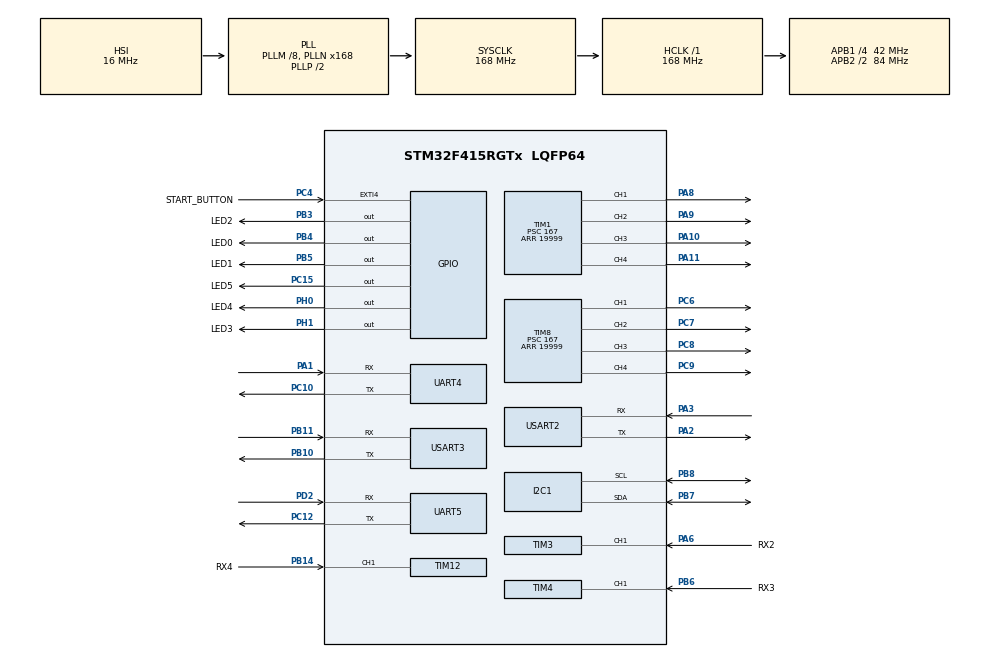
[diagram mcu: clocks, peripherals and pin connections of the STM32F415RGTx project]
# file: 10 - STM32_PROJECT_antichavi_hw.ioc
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Dma.Request0=USART3_RX
Dma.Request1=USART3_TX
Dma.Request2=UART5_RX
Dma.Request3=UART5_TX
Dma.Request4=UART4_RX
Dma.Request5=UART4_TX
Dma.Request6=USART2_RX
Dma.Request7=USART2_TX
Dma.UART4_RX.4.Direction=DMA_PERIPH_TO_MEMORY
Dma.UART4_RX.4.FIFOMode=DMA_FIFOMODE_DISABLE
Dma.UART4_RX.4.Instance=DMA1_Stream2
Dma.UART4_RX.4.MemDataAlignment=DMA_MDATAALIGN_BYTE
Dma.UART4_RX.4.MemInc=DMA_MINC_ENABLE
Dma.UART4_RX.4.Mode=DMA_CIRCULAR
Dma.UART4_RX.4.PeriphDataAlignment=DMA_PDATAALIGN_BYTE
Dma.UART4_RX.4.PeriphInc=DMA_PINC_DISABLE
Dma.UART4_RX.4.Priority=DMA_PRIORITY_LOW
Dma.UART4_TX.5.Direction=DMA_MEMORY_TO_PERIPH
Dma.UART4_TX.5.FIFOMode=DMA_FIFOMODE_DISABLE
Dma.UART4_TX.5.Instance=DMA1_Stream4
Dma.UART4_TX.5.MemDataAlignment=DMA_MDATAALIGN_BYTE
Dma.UART4_TX.5.MemInc=DMA_MINC_ENABLE
Dma.UART4_TX.5.Mode=DMA_NORMAL
Dma.UART4_TX.5.PeriphDataAlignment=DMA_PDATAALIGN_BYTE
Dma.UART4_TX.5.PeriphInc=DMA_PINC_DISABLE
Dma.UART4_TX.5.Priority=DMA_PRIORITY_LOW
Dma.UART5_RX.2.Direction=DMA_PERIPH_TO_MEMORY
Dma.UART5_RX.2.FIFOMode=DMA_FIFOMODE_DISABLE
Dma.UART5_RX.2.Instance=DMA1_Stream0
Dma.UART5_RX.2.MemDataAlignment=DMA_MDATAALIGN_BYTE
Dma.UART5_RX.2.MemInc=DMA_MINC_ENABLE
Dma.UART5_RX.2.Mode=DMA_NORMAL
Dma.UART5_RX.2.PeriphDataAlignment=DMA_PDATAALIGN_BYTE
Dma.UART5_RX.2.PeriphInc=DMA_PINC_DISABLE
Dma.UART5_RX.2.Priority=DMA_PRIORITY_LOW
Dma.UART5_TX.3.Direction=DMA_MEMORY_TO_PERIPH
Dma.UART5_TX.3.FIFOMode=DMA_FIFOMODE_DISABLE
Dma.UART5_TX.3.Instance=DMA1_Stream7
Dma.UART5_TX.3.MemDataAlignment=DMA_MDATAALIGN_BYTE
Dma.UART5_TX.3.MemInc=DMA_MINC_ENABLE
Dma.UART5_TX.3.Mode=DMA_NORMAL
Dma.UART5_TX.3.PeriphDataAlignment=DMA_PDATAALIGN_BYTE
Dma.UART5_TX.3.PeriphInc=DMA_PINC_DISABLE
Dma.UART5_TX.3.Priority=DMA_PRIORITY_LOW
Dma.USART2_RX.6.Direction=DMA_PERIPH_TO_MEMORY
Dma.USART2_RX.6.FIFOMode=DMA_FIFOMODE_DISABLE
Dma.USART2_RX.6.Instance=DMA1_Stream5
Dma.USART2_RX.6.MemDataAlignment=DMA_MDATAALIGN_BYTE
Dma.USART2_RX.6.MemInc=DMA_MINC_ENABLE
Dma.USART2_RX.6.Mode=DMA_NORMAL
Dma.USART2_RX.6.PeriphDataAlignment=DMA_PDATAALIGN_BYTE
Dma.USART2_RX.6.PeriphInc=DMA_PINC_DISABLE
Dma.USART2_RX.6.Priority=DMA_PRIORITY_LOW
Dma.USART2_TX.7.Direction=DMA_MEMORY_TO_PERIPH
Dma.USART2_TX.7.FIFOMode=DMA_FIFOMODE_DISABLE
Dma.USART2_TX.7.Instance=DMA1_Stream6
Dma.USART2_TX.7.MemDataAlignment=DMA_MDATAALIGN_BYTE
Dma.USART2_TX.7.MemInc=DMA_MINC_ENABLE
Dma.USART2_TX.7.Mode=DMA_NORMAL
Dma.USART2_TX.7.PeriphDataAlignment=DMA_PDATAALIGN_BYTE
Dma.USART2_TX.7.PeriphInc=DMA_PINC_DISABLE
Dma.USART2_TX.7.Priority=DMA_PRIORITY_LOW
Dma.USART3_RX.0.Direction=DMA_PERIPH_TO_MEMORY
Dma.USART3_RX.0.FIFOMode=DMA_FIFOMODE_DISABLE
Dma.USART3_RX.0.Instance=DMA1_Stream1
Dma.USART3_RX.0.MemDataAlignment=DMA_MDATAALIGN_BYTE
Dma.USART3_RX.0.MemInc=DMA_MINC_ENABLE
Dma.USART3_RX.0.Mode=DMA_NORMAL
Dma.USART3_RX.0.PeriphDataAlignment=DMA_PDATAALIGN_BYTE
Dma.USART3_RX.0.PeriphInc=DMA_PINC_DISABLE
Dma.USART3_RX.0.Priority=DMA_PRIORITY_LOW
Dma.USART3_TX.1.Direction=DMA_MEMORY_TO_PERIPH
Dma.USART3_TX.1.FIFOMode=DMA_FIFOMODE_DISABLE
Dma.USART3_TX.1.Instance=DMA1_Stream3
Dma.USART3_TX.1.MemDataAlignment=DMA_MDATAALIGN_BYTE
Dma.USART3_TX.1.MemInc=DMA_MINC_ENABLE
Dma.USART3_TX.1.Mode=DMA_NORMAL
Dma.USART3_TX.1.PeriphDataAlignment=DMA_PDATAALIGN_BYTE
Dma.USART3_TX.1.PeriphInc=DMA_PINC_DISABLE
Dma.USART3_TX.1.Priority=DMA_PRIORITY_LOW
I2C1.I2C_Mode=I2C_Fast
Mcu.Family=STM32F4
Mcu.Name=STM32F415RGTx
Mcu.Package=LQFP64
NVIC.DMA1_Stream0_IRQn=true\:0\:0\:false\:false\:true\:false\:true
NVIC.DMA1_Stream1_IRQn=true\:0\:0\:false\:false\:true\:false\:true
NVIC.DMA1_Stream2_IRQn=true\:0\:0\:false\:false\:true\:false\:true
NVIC.DMA1_Stream3_IRQn=true\:0\:0\:false\:false\:true\:false\:true
NVIC.DMA1_Stream4_IRQn=true\:0\:0\:false\:false\:true\:false\:true
NVIC.DMA1_Stream5_IRQn=true\:0\:0\:false\:false\:true\:false\:true
NVIC.DMA1_Stream6_IRQn=true\:0\:0\:false\:false\:true\:false\:true
NVIC.DMA1_Stream7_IRQn=true\:0\:0\:false\:false\:true\:false\:true
NVIC.EXTI4_IRQn=true\:0\:0\:false\:false\:true\:true\:true
NVIC.PriorityGroup=NVIC_PRIORITYGROUP_4
NVIC.TIM1_BRK_TIM9_IRQn=true\:0\:0\:false\:false\:true\:true\:true
NVIC.TIM3_IRQn=true\:0\:0\:false\:false\:true\:true\:true
NVIC.TIM4_IRQn=true\:0\:0\:false\:false\:true\:true\:true
NVIC.TIM8_BRK_TIM12_IRQn=true\:0\:0\:false\:false\:true\:true\:true
NVIC.UART4_IRQn=true\:0\:0\:false\:false\:true\:true\:true
NVIC.UART5_IRQn=true\:0\:0\:false\:false\:true\:true\:true
NVIC.USART2_IRQn=true\:0\:0\:false\:false\:true\:true\:true
NVIC.USART3_IRQn=true\:0\:0\:false\:false\:true\:true\:true
PA1.Mode=Asynchronous
PA1.Signal=UART4_RX
PA10.Signal=S_TIM1_CH3
PA11.Signal=S_TIM1_CH4
PA13.Mode=Serial_Wire
PA13.Signal=SYS_JTMS-SWDIO
PA14.Mode=Serial_Wire
PA14.Signal=SYS_JTCK-SWCLK
PA2.Mode=Asynchronous
PA2.Signal=USART2_TX
PA3.Mode=Asynchronous
PA3.Signal=USART2_RX
PA6.GPIO_Label=RX2
PA6.Signal=S_TIM3_CH1
PA8.Signal=S_TIM1_CH1
PA9.Signal=S_TIM1_CH2
PB10.Mode=Asynchronous
PB10.Signal=USART3_TX
PB11.Mode=Asynchronous
PB11.Signal=USART3_RX
PB14.GPIO_Label=RX4
PB14.Signal=S_TIM12_CH1
PB3.GPIO_Label=LED2
PB3.GPIO_ModeDefaultOutputPP=GPIO_MODE_OUTPUT_OD
PB3.Signal=GPIO_Output
PB4.GPIO_Label=LED0
PB4.GPIO_ModeDefaultOutputPP=GPIO_MODE_OUTPUT_OD
PB4.Signal=GPIO_Output
PB5.GPIO_Label=LED1
PB5.GPIO_ModeDefaultOutputPP=GPIO_MODE_OUTPUT_OD
PB5.Signal=GPIO_Output
PB6.GPIO_Label=RX3
PB6.GPIO_PuPd=GPIO_PULLUP
PB6.Signal=S_TIM4_CH1
PB7.Mode=I2C
PB7.Signal=I2C1_SDA
PB8.Mode=I2C
PB8.Signal=I2C1_SCL
PC10.Mode=Asynchronous
PC10.Signal=UART4_TX
PC12.Mode=Asynchronous
PC12.Signal=UART5_TX
PC15-OSC32_OUT.GPIO_Label=LED5
PC15-OSC32_OUT.GPIO_ModeDefaultOutputPP=GPIO_MODE_OUTPUT_OD
PC15-OSC32_OUT.Signal=GPIO_Output
PC4.GPIO_Label=START_BUTTON
PC4.GPIO_ModeDefaultEXTI=GPIO_MODE_IT_RISING
PC4.GPIO_PuPd=GPIO_PULLUP
PC4.Signal=GPXTI4
PC6.Signal=S_TIM8_CH1
PC7.Signal=S_TIM8_CH2
PC8.Signal=S_TIM8_CH3
PC9.Signal=S_TIM8_CH4
PD2.Mode=Asynchronous
PD2.Signal=UART5_RX
PH0-OSC_IN.GPIO_Label=LED4
PH0-OSC_IN.GPIO_ModeDefaultOutputPP=GPIO_MODE_OUTPUT_OD
PH0-OSC_IN.Signal=GPIO_Output
PH1-OSC_OUT.GPIO_Label=LED3
PH1-OSC_OUT.GPIO_ModeDefaultOutputPP=GPIO_MODE_OUTPUT_OD
PH1-OSC_OUT.Signal=GPIO_Output
ProjectManager.HeapSize=0x200
ProjectManager.StackSize=0x400
ProjectManager.TargetToolchain=TrueSTUDIO
RCC.48MHZClocksFreq_Value=84000000
RCC.AHBFreq_Value=168000000
RCC.APB1CLKDivider=RCC_HCLK_DIV4
RCC.APB1Freq_Value=42000000
RCC.APB1TimFreq_Value=84000000
RCC.APB2CLKDivider=RCC_HCLK_DIV2
RCC.APB2Freq_Value=84000000
RCC.APB2TimFreq_Value=168000000
RCC.CortexFreq_Value=168000000
RCC.HCLKFreq_Value=168000000
RCC.HSE_VALUE=25000000
RCC.HSI_VALUE=16000000
RCC.LSE_VALUE=32768
RCC.PLLM=8
RCC.PLLN=168
RCC.SYSCLKFreq_VALUE=168000000
RCC.SYSCLKSource=RCC_SYSCLKSOURCE_PLLCLK
RCC.VCOOutputFreq_Value=336000000
SH.S_TIM12_CH1.0=TIM12_CH1,PWM_Input_1
SH.S_TIM1_CH1.0=TIM1_CH1,PWM Generation1 CH1
SH.S_TIM1_CH2.0=TIM1_CH2,PWM Generation2 CH2
SH.S_TIM1_CH3.0=TIM1_CH3,PWM Generation3 CH3
SH.S_TIM1_CH4.0=TIM1_CH4,PWM Generation4 CH4
SH.S_TIM3_CH1.0=TIM3_CH1,PWM_Input_1
SH.S_TIM4_CH1.0=TIM4_CH1,PWM_Input_1
SH.S_TIM8_CH1.0=TIM8_CH1,PWM Generation1 CH1
SH.S_TIM8_CH2.0=TIM8_CH2,PWM Generation2 CH2
SH.S_TIM8_CH3.0=TIM8_CH3,PWM Generation3 CH3
SH.S_TIM8_CH4.0=TIM8_CH4,PWM Generation4 CH4
TIM1.Channel-PWM\ Generation1\ CH1=TIM_CHANNEL_1
TIM1.Channel-PWM\ Generation2\ CH2=TIM_CHANNEL_2
TIM1.Channel-PWM\ Generation3\ CH3=TIM_CHANNEL_3
TIM1.Channel-PWM\ Generation4\ CH4=TIM_CHANNEL_4
TIM1.Period=19999
TIM1.Prescaler=167
TIM1.Pulse-PWM\ Generation1\ CH1=1500
TIM1.Pulse-PWM\ Generation2\ CH2=1500
TIM1.Pulse-PWM\ Generation3\ CH3=1500
TIM1.Pulse-PWM\ Generation4\ CH4=1500
TIM10.Period=0xffff
TIM10.Prescaler=167
TIM12.ICFilter_1=3
TIM12.ICFilter_2=3
TIM12.Period=0xffff
TIM12.Prescaler=83
TIM3.ICFilter_1=3
TIM3.ICFilter_2=3
TIM3.Period=0xffff
TIM3.Prescaler=83
TIM4.ICFilter_1=3
TIM4.ICFilter_2=3
TIM4.Period=0xffff
TIM4.Prescaler=839
TIM8.Channel-PWM\ Generation1\ CH1=TIM_CHANNEL_1
TIM8.Channel-PWM\ Generation2\ CH2=TIM_CHANNEL_2
TIM8.Channel-PWM\ Generation3\ CH3=TIM_CHANNEL_3
TIM8.Channel-PWM\ Generation4\ CH4=TIM_CHANNEL_4
TIM8.Period=19999
TIM8.Prescaler=167
TIM8.Pulse-PWM\ Generation1\ CH1=1500
TIM8.Pulse-PWM\ Generation2\ CH2=1500
TIM8.Pulse-PWM\ Generation3\ CH3=1500
TIM8.Pulse-PWM\ Generation4\ CH4=1500
UART4.VirtualMode=Asynchronous
UART5.VirtualMode=Asynchronous
USART2.VirtualMode=VM_ASYNC
USART3.VirtualMode=VM_ASYNC
VP_TIM10_VS_ClockSourceINT.Mode=Enable_Timer
VP_TIM12_VS_ClockSourceINT.Mode=Internal
VP_TIM1_VS_ClockSourceINT.Mode=Internal
VP_TIM3_VS_ClockSourceINT.Mode=Internal
VP_TIM4_VS_ClockSourceINT.Mode=Internal
VP_TIM8_VS_ClockSourceINT.Mode=Internal
board=custom

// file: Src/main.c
/* USER CODE BEGIN Header */
/**
  ******************************************************************************
  * @file           : main.c
  * @brief          : Main program body
  ******************************************************************************
  * @attention
  *
  * <h2><center>&copy; Copyright (c) 2019 STMicroelectronics.
  * All rights reserved.</center></h2>
  *
  * This software component is licensed by ST under BSD 3-Clause license,
  * the "License"; You may not use this file except in compliance with the
  * License. You may obtain a copy of the License at:
  *                        opensource.org/licenses/BSD-3-Clause
  *
  ******************************************************************************
  */

// WIRING INPUT
// SERIAL3 = ------ LiD (UART3, RX only, DMA RX Normal, note : pin TX damaged)
// SERIAL4 = TX&RX from NVIDIA AI (UART4, DMA RX Circular, DMA TX normal)
// SERIAL5 = ------ LiG (UART5, RX only, DMA RX Normal)

// RC1 = n/c
// RC2 = DIR from RX (TIM3 CH1 PWM input capture)
// RC3 = Tachymeter  (TIM4 CH1 PWM input capture)
// RC4 = THR from RX (TIM12 CH1 PWM input capture)
// RC5 = n/c

// IO1 : ------ LiH (UART2, RX only, DMA RX normal)
// IO4 : START Push button (PC4)

// WIRING OUTPUT
// SERVO5 (HW=TIM8 CH1) = THR
// SERVO6 (HW=TIM8 CH2) = DIR

// MMI
// LED0 (HW=D2)
// LED1 (HW=D1) = MANUAL/AUTO state
// LED2 (HW=D3)
// LED3 (HW=D4) = GYRO state
// LED4 (HW=D5) = AI state
// LED5 (HW=D6) = RC state

/* USER CODE END Header */

#include "main.h"

/* USER CODE BEGIN Includes */
#include "serial.h"
#include "tfminiplus.h"
#include "stdio.h"
#include "string.h"
#include <stdlib.h>     /* atoi */
#include "imu.h"
#include "timer_us.h"
/* USER CODE END Includes */

I2C_HandleTypeDef hi2c1;

TIM_HandleTypeDef htim1;
TIM_HandleTypeDef htim3;
TIM_HandleTypeDef htim4;
TIM_HandleTypeDef htim8;
TIM_HandleTypeDef htim10;
TIM_HandleTypeDef htim12;

UART_HandleTypeDef huart4;
UART_HandleTypeDef huart5;
UART_HandleTypeDef huart2;
UART_HandleTypeDef huart3;
DMA_HandleTypeDef hdma_uart4_rx;
DMA_HandleTypeDef hdma_uart4_tx;
DMA_HandleTypeDef hdma_uart5_rx;
DMA_HandleTypeDef hdma_uart5_tx;
DMA_HandleTypeDef hdma_usart2_rx;
DMA_HandleTypeDef hdma_usart2_tx;
DMA_HandleTypeDef hdma_usart3_rx;
DMA_HandleTypeDef hdma_usart3_tx;

/* USER CODE BEGIN PV */
static HAL_Serial_Handler ai_com;
static uint32_t RC1_last_time = 0;
static uint32_t RC1_period = 0;
static uint32_t RC1_duty_cycle = 0;
static uint32_t RC2_last_time = 0;
static uint32_t RC2_period = 0;
static uint32_t RC2_duty_cycle = 0;
static uint32_t RC4_last_time = 0;
static uint32_t RC4_period = 0;
static uint32_t RC4_duty_cycle = 0;
static char com_line[32];
static uint32_t com_position = 0;
static uint32_t com_last_time = 0;
static uint32_t pwm_manual_thr = 1500;
static uint32_t pwm_manual_dir = 1500;
static uint32_t pwm_ai_thr = 1500;
static uint32_t pwm_ai_dir = 1500;
static uint32_t ai_mode = 0; // 0:idle, 1:running
static uint32_t pwm_auto_thr = 1500;
static uint32_t pwm_auto_dir = 1500;
enum {MAIN_STATE_MANUAL, MAIN_STATE_AUTO_REQUEST, MAIN_STATE_AUTO_STARTUP, MAIN_STATE_AUTO };
static uint32_t main_state = MAIN_STATE_MANUAL;
static uint32_t main_state_last = 0;
#define MANUAL_OVERRIDE_TIMEOUT 2000 //ms
enum {RC_STATE_NONE,RC_STATE_OK};
static uint32_t rc_state = RC_STATE_NONE;
#define RC_TIMEOUT 500 //ms
enum {AI_STATE_NONE,AI_STATE_OK};
static uint32_t ai_state = AI_STATE_NONE;
#define AI_TIMEOUT 100 //ms
enum {LIDAR_STATE_NONE,LIDAR_STATE_OK};
//static uint32_t lidar_state = LIDAR_STATE_NONE;
#define LIDAR_TIMEOUT 100 //ms
//static int32_t lidar_distance_gauche = -1; // cm
//static int32_t lidar_distance_droit = -1;
//static int32_t lidar_distance_haut = -1;
//static int32_t lidar_strength_gauche = -1;
//static int32_t lidar_strength_droit = -1;
//static int32_t lidar_strength_haut = -1;
//static int32_t lidar_temp_gauche = -1;
//static int32_t lidar_temp_droit = -1;
//static int32_t lidar_temp_haut = -1;
static uint32_t tachymeter_pulse_period_5us = 0xFFFF;
static uint64_t tachymeter_pulse_count = 0;
#define GYRO_PERIOD_US 2404 // GYRO ODR = 416Hz
#define GYRO_ODR 416 // GYRO ODR = 416Hz
static int32_t start_countdown = 0;
/* USER CODE END PV */

void SystemClock_Config(void);
static void MX_GPIO_Init(void);
static void MX_DMA_Init(void);
static void MX_TIM1_Init(void);
static void MX_TIM8_Init(void);
static void MX_USART3_UART_Init(void);
static void MX_TIM3_Init(void);
static void MX_UART4_Init(void);
static void MX_UART5_Init(void);
static void MX_TIM12_Init(void);
static void MX_USART2_UART_Init(void);
static void MX_I2C1_Init(void);
static void MX_TIM4_Init(void);
static void MX_TIM10_Init(void);
/* USER CODE BEGIN PFP */
void HAL_GPIO_EXTI_Callback(uint16_t GPIO_Pin)
{
	if(GPIO_Pin==START_BUTTON_Pin)
	{
		main_state = MAIN_STATE_AUTO;
		start_countdown = 3;
	}
}

void HAL_TIM_IC_CaptureCallback(TIM_HandleTypeDef *htim) // Callback for PWM input catpure
{
	if(htim==&htim3) // RC2 = DIR from RX
	{
		if (htim->Channel == HAL_TIM_ACTIVE_CHANNEL_1)
		{
			RC2_period = HAL_TIM_ReadCapturedValue(htim, TIM_CHANNEL_1);
			RC2_last_time = HAL_GetTick(); // timestamp last pulse
		}
		else if (htim->Channel == HAL_TIM_ACTIVE_CHANNEL_2)
		{
			RC2_duty_cycle = HAL_TIM_ReadCapturedValue(htim, TIM_CHANNEL_2);
		}
	}
	else if(htim==&htim12) // RC4 = THR from RX
	{
		if (htim->Channel == HAL_TIM_ACTIVE_CHANNEL_1)
		{
			RC1_period = HAL_TIM_ReadCapturedValue(htim, TIM_CHANNEL_1);
			RC1_last_time = HAL_GetTick(); // timestamp last pulse
		}
		else if (htim->Channel == HAL_TIM_ACTIVE_CHANNEL_2)
		{
			RC1_duty_cycle = HAL_TIM_ReadCapturedValue(htim, TIM_CHANNEL_2);
		}
	}
	else if(htim==&htim4) // RC3 = Tachymeter
	{
		if (htim->Channel == HAL_TIM_ACTIVE_CHANNEL_1)
		{
			tachymeter_pulse_count++;
			RC4_period = HAL_TIM_ReadCapturedValue(htim, TIM_CHANNEL_1);
			RC4_last_time = HAL_GetTick(); // timestamp last pulse
		}
		else if (htim->Channel == HAL_TIM_ACTIVE_CHANNEL_2)
		{
			RC4_duty_cycle = HAL_TIM_ReadCapturedValue(htim, TIM_CHANNEL_2);
		}
	}
}
uint32_t int_to_pwm(uint32_t value)
{
	if(value>=255) value = 255;
	return (uint32_t)( (float)value * 1000.0 / 255.0 + 1000.0 );
}
uint32_t pwm_to_int(uint32_t value)
{
	if(value<=1000) value = 1000;
	if(value>=2000) value = 2000;
	return (uint32_t)( ( (float)value - 1000.0) * 255.0 / 1000.0 );
}
/* USER CODE END PFP */

int main(void)
{

  /* MCU Configuration--------------------------------------------------------*/

  /* Reset of all peripherals, Initializes the Flash interface and the Systick. */
  HAL_Init();

  /* Configure the system clock */
  SystemClock_Config();

  /* Initialize all configured peripherals */
  MX_GPIO_Init();
  MX_DMA_Init();
  MX_TIM1_Init();
  MX_TIM8_Init();
  MX_USART3_UART_Init();
  MX_TIM3_Init();
  MX_UART4_Init();
  MX_UART5_Init();
  MX_TIM12_Init();
  MX_USART2_UART_Init();
  MX_I2C1_Init();
  MX_TIM4_Init();
  MX_TIM10_Init();
  /* USER CODE BEGIN 2 */
  timer_us_init();
  HAL_TIM_PWM_Start(&htim1,TIM_CHANNEL_1); // Start PWM outputs
  HAL_TIM_PWM_Start(&htim1,TIM_CHANNEL_2);
  HAL_TIM_PWM_Start(&htim1,TIM_CHANNEL_3);
  HAL_TIM_PWM_Start(&htim1,TIM_CHANNEL_4);
  HAL_TIM_PWM_Start(&htim8,TIM_CHANNEL_1);
  HAL_TIM_PWM_Start(&htim8,TIM_CHANNEL_2);
  HAL_TIM_PWM_Start(&htim8,TIM_CHANNEL_3);
  HAL_TIM_PWM_Start(&htim8,TIM_CHANNEL_4);
  __HAL_TIM_SET_COMPARE(&htim1,TIM_CHANNEL_1,1500); // Set PWM outputs (middle position)
  __HAL_TIM_SET_COMPARE(&htim1,TIM_CHANNEL_2,1500);
  __HAL_TIM_SET_COMPARE(&htim1,TIM_CHANNEL_3,1500);
  __HAL_TIM_SET_COMPARE(&htim1,TIM_CHANNEL_4,1500);
  __HAL_TIM_SET_COMPARE(&htim8,TIM_CHANNEL_1,1500);
  __HAL_TIM_SET_COMPARE(&htim8,TIM_CHANNEL_2,1500);
  __HAL_TIM_SET_COMPARE(&htim8,TIM_CHANNEL_3,1500);
  __HAL_TIM_SET_COMPARE(&htim8,TIM_CHANNEL_4,1500);
  HAL_TIM_IC_Start_IT(&htim3,TIM_CHANNEL_1); // Start PWM inputs (capture)
  HAL_TIM_IC_Start_IT(&htim3,TIM_CHANNEL_2);
  HAL_TIM_IC_Start_IT(&htim12,TIM_CHANNEL_1);
  HAL_TIM_IC_Start_IT(&htim12,TIM_CHANNEL_2);
  HAL_TIM_IC_Start_IT(&htim4,TIM_CHANNEL_1);
  HAL_TIM_IC_Start_IT(&htim4,TIM_CHANNEL_2);
  HAL_Serial_Init(&huart4,&ai_com); // Start com port
  HAL_GPIO_WritePin(LED0_GPIO_Port,LED0_Pin,GPIO_PIN_RESET); // Init LEDs
  HAL_GPIO_WritePin(LED1_GPIO_Port,LED1_Pin,GPIO_PIN_RESET);
  HAL_GPIO_WritePin(LED2_GPIO_Port,LED2_Pin,GPIO_PIN_RESET);
  HAL_GPIO_WritePin(LED3_GPIO_Port,LED3_Pin,GPIO_PIN_RESET);
  HAL_GPIO_WritePin(LED4_GPIO_Port,LED4_Pin,GPIO_PIN_RESET);
  HAL_GPIO_WritePin(LED5_GPIO_Port,LED5_Pin,GPIO_PIN_RESET);
  HAL_Delay(500);
  HAL_GPIO_WritePin(LED0_GPIO_Port,LED0_Pin,GPIO_PIN_SET); // Init LEDs
  HAL_GPIO_WritePin(LED1_GPIO_Port,LED1_Pin,GPIO_PIN_SET);
  HAL_GPIO_WritePin(LED2_GPIO_Port,LED2_Pin,GPIO_PIN_SET);
  HAL_GPIO_WritePin(LED3_GPIO_Port,LED3_Pin,GPIO_PIN_SET);
  HAL_GPIO_WritePin(LED4_GPIO_Port,LED4_Pin,GPIO_PIN_SET);
  HAL_GPIO_WritePin(LED5_GPIO_Port,LED5_Pin,GPIO_PIN_SET);
  uint32_t gyro_err = gyro_init();
  uint16_t gyro_last_time_us = timer_us_get();
  HAL_Serial_Print(&ai_com, "gyro error:%d\r\n",gyro_err);
  /* USER CODE END 2 */

  /* Infinite loop */
  /* USER CODE BEGIN WHILE */
  uint32_t last_time_100Hz = HAL_GetTick();
  while (1)
  {
    /* USER CODE END WHILE */

    /* USER CODE BEGIN 3 */
		uint32_t current_time_ms = HAL_GetTick();
		uint16_t current_time_us = timer_us_get();
		switch(rc_state) // RC state machine
		{
		case RC_STATE_NONE: // No RC
			{
				HAL_GPIO_WritePin(LED5_GPIO_Port,LED5_Pin,GPIO_PIN_SET);
				pwm_manual_thr = 1500;
				pwm_manual_dir = 1500;
			    if((RC1_last_time+RC_TIMEOUT>current_time_ms) && (RC2_last_time+RC_TIMEOUT>current_time_ms))
			    {
			    	rc_state = RC_STATE_OK;
			    }
			}
			break;
		case RC_STATE_OK:
			{
				HAL_GPIO_WritePin(LED5_GPIO_Port,LED5_Pin,GPIO_PIN_RESET);
				pwm_manual_thr = RC1_duty_cycle;
				pwm_manual_dir = RC2_duty_cycle;
			    if((RC1_last_time+RC_TIMEOUT<current_time_ms) || (RC2_last_time+RC_TIMEOUT<current_time_ms))
			    {
			    	rc_state = RC_STATE_NONE;
			    }
			}
			break;
		}
	    while(HAL_Serial_Available(&ai_com)) // Process ai_com port
		{
	    	char c = HAL_Serial_GetChar(&ai_com);
			if(c=='\n' || c=='\r') // eol detection
			{
				if(com_position!=0) // not empty recv buffer
				{
					com_line[com_position]=0; // force eol
				    char *tab_args[50];
				    int num_args;
				    int32_t data;

			        num_args = 0;
			        tab_args[num_args] = strtok(com_line, ";");
			        while(tab_args[num_args] != NULL)
			        {
			            tab_args[++num_args] = strtok(NULL, ";");
			        }
			        // reset inputs data
					pwm_ai_dir = 1500;
					pwm_ai_thr = 1500;
					ai_mode = 0;
					// parse DIRECTION
			        if(num_args>=1)
			        {
						data = 128; // default not line position value from AI
						data = atoi(tab_args[0]); // decode value
						if(data<=255 && data>=0)
						{
							pwm_ai_dir = int_to_pwm(data);
						}
			        }
			        // parse THROTTLE
			        if(num_args>=2)
			        {
						data = 128; // default not speed value from AI
						data = atoi(tab_args[1]); // decode value
						if(data<=255 && data>=0)
						{
							pwm_ai_thr = int_to_pwm(data);
						}
			        }
			        // parse MODE
			        if(num_args>=3)
			        {
						data = 128; // default not speed value from AI
						data = atoi(tab_args[2]); // decode value
						ai_mode = data;
						// AI frame complete, update AI health state and send back telemetry frame
						com_last_time = current_time_ms;
			        }
					com_position = 0; // reset recv buffer
				}
			}
			else // new char
			{
				com_line[com_position]=c;
				if(com_position<31) // handle end of recv buffer
				{
					++com_position;
				}
			}
		}
		switch(ai_state) // AI state machine
		{
		case AI_STATE_NONE: // No RC
			{
				HAL_GPIO_WritePin(LED4_GPIO_Port,LED4_Pin,GPIO_PIN_SET);
				pwm_ai_thr = 1500;
				pwm_ai_dir = 1500;
			    if(com_last_time+AI_TIMEOUT>current_time_ms)
			    {
			    	ai_state = AI_STATE_OK;
			    }
			}
			break;
		case AI_STATE_OK:
			{
				HAL_GPIO_WritePin(LED4_GPIO_Port,LED4_Pin,GPIO_PIN_RESET);
				// values from ai_com process
			    if(com_last_time+AI_TIMEOUT<current_time_ms)
			    {
			    	ai_state = AI_STATE_NONE;
			    }
			}
			break;
		}
		pwm_auto_thr = pwm_ai_thr; // no other source of automatic control, then auto controller use AI
		pwm_auto_dir = pwm_ai_dir;
		// compute actual x speed
		//   RC4 max period is 325ms (0xffff * 5us)
		//   no pulse after 650ms means null speed (return 0xffff)
		if(RC4_last_time + 650 > HAL_GetTick())
			tachymeter_pulse_period_5us = RC4_period;
		else
			tachymeter_pulse_period_5us = 0xFFFF;
		// compute actual distance at 416Hz
		//    see TIMER IT Callback
		// compute actual heading and actual w speed using gyro
		uint16_t duration_us = current_time_us-gyro_last_time_us;
		if(duration_us>=GYRO_PERIOD_US)
		{
			gyro_last_time_us += GYRO_PERIOD_US;
			if( gyro_err == GYRO_OK)
			{
				HAL_GPIO_WritePin(LED4_GPIO_Port,LED4_Pin,GPIO_PIN_RESET);
				float duration_s = (float)(duration_us)/1000000.0;
				if(tachymeter_pulse_period_5us == 0xFFFF)
				{
					// robot is idle, auto calibrate bias
					gyro_auto_calibrate(duration_s);
#ifdef IMU_TRACE
					static int counter = 0;
					if(((counter++)%GYRO_ODR)==0) // one trace per second
						HAL_Serial_Print(&ai_com,"duration_us=%d rate=%d mean=%d variance=%d bias=%d heading=%d dps=%d\r\n",
							duration_us,
							(int32_t)(gyro_get_rate()*1000.0),
							(int32_t)(gyro_get_mean()*1000.0),
							(int32_t)(gyro_get_variance()*1000.0),
							(int32_t)(gyro_get_bias()*1000.0),
							(int32_t)(gyro_get_heading()),
							(int32_t)(gyro_get_dps()*1000.0)
						);
#endif
				}
				else
				{
					// robot is running
					gyro_update(duration_s);
				}
			}
			else
			{
				HAL_GPIO_WritePin(LED4_GPIO_Port,LED4_Pin,GPIO_PIN_SET);
			}
		}
		// 100Hz communication to AI
			// return distance (total) ==> AI compute v
			// return heading (total) ==> AI compute w and dtheta
			// return current instant v,w (sampling by AI)
		uint32_t duration_ms = current_time_ms-last_time_100Hz;
		if(duration_ms>=10)
		{
			last_time_100Hz+=10;
			// query last lidar values
			//tfminiplus_getLastAcquisition(MINILIDAR_GAUCHE, &lidar_distance_gauche, &lidar_strength_gauche, &lidar_temp_gauche);
			//tfminiplus_getLastAcquisition(MINILIDAR_DROIT, &lidar_distance_droit, &lidar_strength_droit, &lidar_temp_droit);
			//tfminiplus_getLastAcquisition(MINILIDAR_HAUT, &lidar_distance_haut, &lidar_strength_haut, &lidar_temp_haut);

			// STM32 replies to AI by a frame that contains informations :
			//  - all PWM values [0..255] for DIR/THR from RC and from AI
			//  - modes AUTO/MANUAL from RC and from AI
			//  - start countdown
			//  - actual absolute/total distance in pulses (1/4 main gear rotation)
			//  - actual heading in 0.001 degrees
			//  - actual instant x speed in 5us period of last pulses (1/4 main gear rotation)
			//  - actual instant w speed in 0.001 dps
			//  - actual gyro bias in 0.001 dps
			static uint32_t rep_counter = 0;
			HAL_Serial_Print(&ai_com, "%d;%d;%d;%d;%d;%d;%d;%d;%d;%d;%d;%d;%d\r\n",
				rep_counter++,
				pwm_to_int(pwm_manual_dir),
				pwm_to_int(pwm_manual_thr),
				pwm_to_int(pwm_auto_dir),
				pwm_to_int(pwm_auto_thr),
				main_state,
				ai_mode,
				start_countdown,
				(uint32_t)tachymeter_pulse_count,
				(int32_t)(gyro_get_heading()*1000.0),
				tachymeter_pulse_period_5us,
				(int32_t)(gyro_get_dps()*1000.0),
				(int32_t)(gyro_get_bias()*1000.0)
			);
			if(start_countdown>0)
				--start_countdown;
		}
		switch(main_state) // MAIN state machine
		{
		case MAIN_STATE_MANUAL:
			{
				// RC control servo
				__HAL_TIM_SET_COMPARE(&htim8,TIM_CHANNEL_1,pwm_manual_thr); // RC always control THR at the moment
				__HAL_TIM_SET_COMPARE(&htim8,TIM_CHANNEL_2,pwm_manual_dir); // RC control DIR
				__HAL_TIM_SET_COMPARE(&htim8,TIM_CHANNEL_3,1500);// default servo position
				__HAL_TIM_SET_COMPARE(&htim8,TIM_CHANNEL_4,1500);

				__HAL_TIM_SET_COMPARE(&htim1,TIM_CHANNEL_1,1500);
				__HAL_TIM_SET_COMPARE(&htim1,TIM_CHANNEL_2,1500);
				__HAL_TIM_SET_COMPARE(&htim1,TIM_CHANNEL_3,1500);
				__HAL_TIM_SET_COMPARE(&htim1,TIM_CHANNEL_4,1500);

				HAL_GPIO_WritePin(LED1_GPIO_Port,LED1_Pin,GPIO_PIN_RESET);

				if( (pwm_manual_dir > 1850) && (pwm_manual_thr > 1450) && (pwm_manual_thr < 1550) ) // activation condition
				{
					main_state_last = current_time_ms;
					main_state = MAIN_STATE_AUTO_REQUEST;
				}
			}
			break;
		case MAIN_STATE_AUTO_REQUEST:
			{
				// RC control servo
				__HAL_TIM_SET_COMPARE(&htim8,TIM_CHANNEL_1,pwm_manual_thr); // RC always control THR at the moment
				__HAL_TIM_SET_COMPARE(&htim8,TIM_CHANNEL_2,pwm_manual_dir); // RC control DIR
				__HAL_TIM_SET_COMPARE(&htim8,TIM_CHANNEL_3,1500);// default servo position
				__HAL_TIM_SET_COMPARE(&htim8,TIM_CHANNEL_4,1500);

				__HAL_TIM_SET_COMPARE(&htim1,TIM_CHANNEL_1,1500);
				__HAL_TIM_SET_COMPARE(&htim1,TIM_CHANNEL_2,1500);
				__HAL_TIM_SET_COMPARE(&htim1,TIM_CHANNEL_3,1500);
				__HAL_TIM_SET_COMPARE(&htim1,TIM_CHANNEL_4,1500);

				HAL_GPIO_WritePin(LED1_GPIO_Port,LED1_Pin,GPIO_PIN_RESET);

				if( (pwm_manual_dir > 1850) && (pwm_manual_thr > 1450) && (pwm_manual_thr < 1550) ) // activation condition
				{
					if(main_state_last+MANUAL_OVERRIDE_TIMEOUT<current_time_ms)
					{
						main_state = MAIN_STATE_AUTO_STARTUP;
					}
				}
				else
				{
					main_state = MAIN_STATE_MANUAL;
				}
			}
			break;
		case MAIN_STATE_AUTO_STARTUP:
			{
				// RC control servo
				__HAL_TIM_SET_COMPARE(&htim8,TIM_CHANNEL_1,pwm_manual_thr); // RC always control THR at the moment
				__HAL_TIM_SET_COMPARE(&htim8,TIM_CHANNEL_2,pwm_manual_dir); // RC control DIR
				__HAL_TIM_SET_COMPARE(&htim8,TIM_CHANNEL_3,1500);// default servo position
				__HAL_TIM_SET_COMPARE(&htim8,TIM_CHANNEL_4,1500);

				__HAL_TIM_SET_COMPARE(&htim1,TIM_CHANNEL_1,1500);
				__HAL_TIM_SET_COMPARE(&htim1,TIM_CHANNEL_2,1500);
				__HAL_TIM_SET_COMPARE(&htim1,TIM_CHANNEL_3,1500);
				__HAL_TIM_SET_COMPARE(&htim1,TIM_CHANNEL_4,1500);

				HAL_GPIO_WritePin(LED1_GPIO_Port,LED1_Pin,GPIO_PIN_SET);

				if( (pwm_manual_dir > 1450) && (pwm_manual_dir < 1550) && (pwm_manual_thr > 1450) && (pwm_manual_thr < 1550) ) // activation condition
				{
						main_state = MAIN_STATE_AUTO;
				}
			}
			break;
		case MAIN_STATE_AUTO:
			{
				if(ai_mode==1)
				{
						__HAL_TIM_SET_COMPARE(&htim8,TIM_CHANNEL_1,pwm_auto_thr); // AI control THR
						__HAL_TIM_SET_COMPARE(&htim8,TIM_CHANNEL_2,pwm_auto_dir); // AI control DIR
				}
				else
				{
					__HAL_TIM_SET_COMPARE(&htim8,TIM_CHANNEL_1,1500); // default servo position
					__HAL_TIM_SET_COMPARE(&htim8,TIM_CHANNEL_2,1500); // default servo position
				}
				__HAL_TIM_SET_COMPARE(&htim8,TIM_CHANNEL_3,1500); // default servo position
				__HAL_TIM_SET_COMPARE(&htim8,TIM_CHANNEL_4,1500);

				__HAL_TIM_SET_COMPARE(&htim1,TIM_CHANNEL_1,1500);
				__HAL_TIM_SET_COMPARE(&htim1,TIM_CHANNEL_2,1500);
				__HAL_TIM_SET_COMPARE(&htim1,TIM_CHANNEL_3,1500);
				__HAL_TIM_SET_COMPARE(&htim1,TIM_CHANNEL_4,1500);

				HAL_GPIO_WritePin(LED1_GPIO_Port,LED1_Pin,GPIO_PIN_SET);

				if( (pwm_manual_dir > 1650) || (pwm_manual_dir < 1350) || (pwm_manual_thr < 1350) ) // go back to MANUAL mode when DIR stick touched, when THR stick on brake/backward position
				{
					main_state = MAIN_STATE_MANUAL;
				}
			}
			break;
		}
		//HAL_Delay(1);
		timer_us_delay(1);
  }
  /* USER CODE END 3 */
}

void SystemClock_Config(void)
{
  RCC_OscInitTypeDef RCC_OscInitStruct = {0};
  RCC_ClkInitTypeDef RCC_ClkInitStruct = {0};

  /** Configure the main internal regulator output voltage
  */
  __HAL_RCC_PWR_CLK_ENABLE();
  __HAL_PWR_VOLTAGESCALING_CONFIG(PWR_REGULATOR_VOLTAGE_SCALE1);
  /** Initializes the CPU, AHB and APB busses clocks
  */
  RCC_OscInitStruct.OscillatorType = RCC_OSCILLATORTYPE_HSI;
  RCC_OscInitStruct.HSIState = RCC_HSI_ON;
  RCC_OscInitStruct.HSICalibrationValue = RCC_HSICALIBRATION_DEFAULT;
  RCC_OscInitStruct.PLL.PLLState = RCC_PLL_ON;
  RCC_OscInitStruct.PLL.PLLSource = RCC_PLLSOURCE_HSI;
  RCC_OscInitStruct.PLL.PLLM = 8;
  RCC_OscInitStruct.PLL.PLLN = 168;
  RCC_OscInitStruct.PLL.PLLP = RCC_PLLP_DIV2;
  RCC_OscInitStruct.PLL.PLLQ = 4;
  if (HAL_RCC_OscConfig(&RCC_OscInitStruct) != HAL_OK)
  {
    Error_Handler();
  }
  /** Initializes the CPU, AHB and APB busses clocks
  */
  RCC_ClkInitStruct.ClockType = RCC_CLOCKTYPE_HCLK|RCC_CLOCKTYPE_SYSCLK
                              |RCC_CLOCKTYPE_PCLK1|RCC_CLOCKTYPE_PCLK2;
  RCC_ClkInitStruct.SYSCLKSource = RCC_SYSCLKSOURCE_PLLCLK;
  RCC_ClkInitStruct.AHBCLKDivider = RCC_SYSCLK_DIV1;
  RCC_ClkInitStruct.APB1CLKDivider = RCC_HCLK_DIV4;
  RCC_ClkInitStruct.APB2CLKDivider = RCC_HCLK_DIV2;

  if (HAL_RCC_ClockConfig(&RCC_ClkInitStruct, FLASH_LATENCY_5) != HAL_OK)
  {
    Error_Handler();
  }
}

static void MX_I2C1_Init(void)
{

  hi2c1.Instance = I2C1;
  hi2c1.Init.ClockSpeed = 400000;
  hi2c1.Init.DutyCycle = I2C_DUTYCYCLE_2;
  hi2c1.Init.OwnAddress1 = 0;
  hi2c1.Init.AddressingMode = I2C_ADDRESSINGMODE_7BIT;
  hi2c1.Init.DualAddressMode = I2C_DUALADDRESS_DISABLE;
  hi2c1.Init.OwnAddress2 = 0;
  hi2c1.Init.GeneralCallMode = I2C_GENERALCALL_DISABLE;
  hi2c1.Init.NoStretchMode = I2C_NOSTRETCH_DISABLE;
  if (HAL_I2C_Init(&hi2c1) != HAL_OK)
  {
    Error_Handler();
  }

}

static void MX_TIM1_Init(void)
{

  TIM_ClockConfigTypeDef sClockSourceConfig = {0};
  TIM_MasterConfigTypeDef sMasterConfig = {0};
  TIM_OC_InitTypeDef sConfigOC = {0};
  TIM_BreakDeadTimeConfigTypeDef sBreakDeadTimeConfig = {0};

  htim1.Instance = TIM1;
  htim1.Init.Prescaler = 167;
  htim1.Init.CounterMode = TIM_COUNTERMODE_UP;
  htim1.Init.Period = 19999;
  htim1.Init.ClockDivision = TIM_CLOCKDIVISION_DIV1;
  htim1.Init.RepetitionCounter = 0;
  htim1.Init.AutoReloadPreload = TIM_AUTORELOAD_PRELOAD_DISABLE;
  if (HAL_TIM_Base_Init(&htim1) != HAL_OK)
  {
    Error_Handler();
  }
  sClockSourceConfig.ClockSource = TIM_CLOCKSOURCE_INTERNAL;
  if (HAL_TIM_ConfigClockSource(&htim1, &sClockSourceConfig) != HAL_OK)
  {
    Error_Handler();
  }
  if (HAL_TIM_PWM_Init(&htim1) != HAL_OK)
  {
    Error_Handler();
  }
  sMasterConfig.MasterOutputTrigger = TIM_TRGO_RESET;
  sMasterConfig.MasterSlaveMode = TIM_MASTERSLAVEMODE_DISABLE;
  if (HAL_TIMEx_MasterConfigSynchronization(&htim1, &sMasterConfig) != HAL_OK)
  {
    Error_Handler();
  }
  sConfigOC.OCMode = TIM_OCMODE_PWM1;
  sConfigOC.Pulse = 1500;
  sConfigOC.OCPolarity = TIM_OCPOLARITY_HIGH;
  sConfigOC.OCNPolarity = TIM_OCNPOLARITY_HIGH;
  sConfigOC.OCFastMode = TIM_OCFAST_DISABLE;
  sConfigOC.OCIdleState = TIM_OCIDLESTATE_RESET;
  sConfigOC.OCNIdleState = TIM_OCNIDLESTATE_RESET;
  if (HAL_TIM_PWM_ConfigChannel(&htim1, &sConfigOC, TIM_CHANNEL_1) != HAL_OK)
  {
    Error_Handler();
  }
  if (HAL_TIM_PWM_ConfigChannel(&htim1, &sConfigOC, TIM_CHANNEL_2) != HAL_OK)
  {
    Error_Handler();
  }
  if (HAL_TIM_PWM_ConfigChannel(&htim1, &sConfigOC, TIM_CHANNEL_3) != HAL_OK)
  {
    Error_Handler();
  }
  if (HAL_TIM_PWM_ConfigChannel(&htim1, &sConfigOC, TIM_CHANNEL_4) != HAL_OK)
  {
    Error_Handler();
  }
  sBreakDeadTimeConfig.OffStateRunMode = TIM_OSSR_DISABLE;
  sBreakDeadTimeConfig.OffStateIDLEMode = TIM_OSSI_DISABLE;
  sBreakDeadTimeConfig.LockLevel = TIM_LOCKLEVEL_OFF;
  sBreakDeadTimeConfig.DeadTime = 0;
  sBreakDeadTimeConfig.BreakState = TIM_BREAK_DISABLE;
  sBreakDeadTimeConfig.BreakPolarity = TIM_BREAKPOLARITY_HIGH;
  sBreakDeadTimeConfig.AutomaticOutput = TIM_AUTOMATICOUTPUT_DISABLE;
  if (HAL_TIMEx_ConfigBreakDeadTime(&htim1, &sBreakDeadTimeConfig) != HAL_OK)
  {
    Error_Handler();
  }
  HAL_TIM_MspPostInit(&htim1);

}

static void MX_TIM3_Init(void)
{

  TIM_ClockConfigTypeDef sClockSourceConfig = {0};
  TIM_SlaveConfigTypeDef sSlaveConfig = {0};
  TIM_IC_InitTypeDef sConfigIC = {0};
  TIM_MasterConfigTypeDef sMasterConfig = {0};

  htim3.Instance = TIM3;
  htim3.Init.Prescaler = 83;
  htim3.Init.CounterMode = TIM_COUNTERMODE_UP;
  htim3.Init.Period = 0xffff;
  htim3.Init.ClockDivision = TIM_CLOCKDIVISION_DIV1;
  htim3.Init.AutoReloadPreload = TIM_AUTORELOAD_PRELOAD_DISABLE;
  if (HAL_TIM_Base_Init(&htim3) != HAL_OK)
  {
    Error_Handler();
  }
  sClockSourceConfig.ClockSource = TIM_CLOCKSOURCE_INTERNAL;
  if (HAL_TIM_ConfigClockSource(&htim3, &sClockSourceConfig) != HAL_OK)
  {
    Error_Handler();
  }
  if (HAL_TIM_IC_Init(&htim3) != HAL_OK)
  {
    Error_Handler();
  }
  sSlaveConfig.SlaveMode = TIM_SLAVEMODE_RESET;
  sSlaveConfig.InputTrigger = TIM_TS_TI1FP1;
  sSlaveConfig.TriggerPolarity = TIM_INPUTCHANNELPOLARITY_RISING;
  sSlaveConfig.TriggerPrescaler = TIM_ICPSC_DIV1;
  sSlaveConfig.TriggerFilter = 3;
  if (HAL_TIM_SlaveConfigSynchro(&htim3, &sSlaveConfig) != HAL_OK)
  {
    Error_Handler();
  }
  sConfigIC.ICPolarity = TIM_INPUTCHANNELPOLARITY_RISING;
  sConfigIC.ICSelection = TIM_ICSELECTION_DIRECTTI;
  sConfigIC.ICPrescaler = TIM_ICPSC_DIV1;
  sConfigIC.ICFilter = 3;
  if (HAL_TIM_IC_ConfigChannel(&htim3, &sConfigIC, TIM_CHANNEL_1) != HAL_OK)
  {
    Error_Handler();
  }
  sConfigIC.ICPolarity = TIM_INPUTCHANNELPOLARITY_FALLING;
  sConfigIC.ICSelection = TIM_ICSELECTION_INDIRECTTI;
  if (HAL_TIM_IC_ConfigChannel(&htim3, &sConfigIC, TIM_CHANNEL_2) != HAL_OK)
  {
    Error_Handler();
  }
  sMasterConfig.MasterOutputTrigger = TIM_TRGO_RESET;
  sMasterConfig.MasterSlaveMode = TIM_MASTERSLAVEMODE_DISABLE;
  if (HAL_TIMEx_MasterConfigSynchronization(&htim3, &sMasterConfig) != HAL_OK)
  {
    Error_Handler();
  }

}

static void MX_TIM4_Init(void)
{

  TIM_ClockConfigTypeDef sClockSourceConfig = {0};
  TIM_SlaveConfigTypeDef sSlaveConfig = {0};
  TIM_IC_InitTypeDef sConfigIC = {0};
  TIM_MasterConfigTypeDef sMasterConfig = {0};

  htim4.Instance = TIM4;
  htim4.Init.Prescaler = 839;
  htim4.Init.CounterMode = TIM_COUNTERMODE_UP;
  htim4.Init.Period = 0xffff;
  htim4.Init.ClockDivision = TIM_CLOCKDIVISION_DIV1;
  htim4.Init.AutoReloadPreload = TIM_AUTORELOAD_PRELOAD_DISABLE;
  if (HAL_TIM_Base_Init(&htim4) != HAL_OK)
  {
    Error_Handler();
  }
  sClockSourceConfig.ClockSource = TIM_CLOCKSOURCE_INTERNAL;
  if (HAL_TIM_ConfigClockSource(&htim4, &sClockSourceConfig) != HAL_OK)
  {
    Error_Handler();
  }
  if (HAL_TIM_IC_Init(&htim4) != HAL_OK)
  {
    Error_Handler();
  }
  sSlaveConfig.SlaveMode = TIM_SLAVEMODE_RESET;
  sSlaveConfig.InputTrigger = TIM_TS_TI1FP1;
  sSlaveConfig.TriggerPolarity = TIM_INPUTCHANNELPOLARITY_RISING;
  sSlaveConfig.TriggerPrescaler = TIM_ICPSC_DIV1;
  sSlaveConfig.TriggerFilter = 3;
  if (HAL_TIM_SlaveConfigSynchro(&htim4, &sSlaveConfig) != HAL_OK)
  {
    Error_Handler();
  }
  sConfigIC.ICPolarity = TIM_INPUTCHANNELPOLARITY_RISING;
  sConfigIC.ICSelection = TIM_ICSELECTION_DIRECTTI;
  sConfigIC.ICPrescaler = TIM_ICPSC_DIV1;
  sConfigIC.ICFilter = 3;
  if (HAL_TIM_IC_ConfigChannel(&htim4, &sConfigIC, TIM_CHANNEL_1) != HAL_OK)
  {
    Error_Handler();
  }
  sConfigIC.ICPolarity = TIM_INPUTCHANNELPOLARITY_FALLING;
  sConfigIC.ICSelection = TIM_ICSELECTION_INDIRECTTI;
  if (HAL_TIM_IC_ConfigChannel(&htim4, &sConfigIC, TIM_CHANNEL_2) != HAL_OK)
  {
    Error_Handler();
  }
  sMasterConfig.MasterOutputTrigger = TIM_TRGO_RESET;
  sMasterConfig.MasterSlaveMode = TIM_MASTERSLAVEMODE_DISABLE;
  if (HAL_TIMEx_MasterConfigSynchronization(&htim4, &sMasterConfig) != HAL_OK)
  {
    Error_Handler();
  }

}

static void MX_TIM8_Init(void)
{

  TIM_ClockConfigTypeDef sClockSourceConfig = {0};
  TIM_MasterConfigTypeDef sMasterConfig = {0};
  TIM_OC_InitTypeDef sConfigOC = {0};
  TIM_BreakDeadTimeConfigTypeDef sBreakDeadTimeConfig = {0};

  htim8.Instance = TIM8;
  htim8.Init.Prescaler = 167;
  htim8.Init.CounterMode = TIM_COUNTERMODE_UP;
  htim8.Init.Period = 19999;
  htim8.Init.ClockDivision = TIM_CLOCKDIVISION_DIV1;
  htim8.Init.RepetitionCounter = 0;
  htim8.Init.AutoReloadPreload = TIM_AUTORELOAD_PRELOAD_DISABLE;
  if (HAL_TIM_Base_Init(&htim8) != HAL_OK)
  {
    Error_Handler();
  }
  sClockSourceConfig.ClockSource = TIM_CLOCKSOURCE_INTERNAL;
  if (HAL_TIM_ConfigClockSource(&htim8, &sClockSourceConfig) != HAL_OK)
  {
    Error_Handler();
  }
  if (HAL_TIM_PWM_Init(&htim8) != HAL_OK)
  {
    Error_Handler();
  }
  sMasterConfig.MasterOutputTrigger = TIM_TRGO_RESET;
  sMasterConfig.MasterSlaveMode = TIM_MASTERSLAVEMODE_DISABLE;
  if (HAL_TIMEx_MasterConfigSynchronization(&htim8, &sMasterConfig) != HAL_OK)
  {
    Error_Handler();
  }
  sConfigOC.OCMode = TIM_OCMODE_PWM1;
  sConfigOC.Pulse = 1500;
  sConfigOC.OCPolarity = TIM_OCPOLARITY_HIGH;
  sConfigOC.OCNPolarity = TIM_OCNPOLARITY_HIGH;
  sConfigOC.OCFastMode = TIM_OCFAST_DISABLE;
  sConfigOC.OCIdleState = TIM_OCIDLESTATE_RESET;
  sConfigOC.OCNIdleState = TIM_OCNIDLESTATE_RESET;
  if (HAL_TIM_PWM_ConfigChannel(&htim8, &sConfigOC, TIM_CHANNEL_1) != HAL_OK)
  {
    Error_Handler();
  }
  if (HAL_TIM_PWM_ConfigChannel(&htim8, &sConfigOC, TIM_CHANNEL_2) != HAL_OK)
  {
    Error_Handler();
  }
  if (HAL_TIM_PWM_ConfigChannel(&htim8, &sConfigOC, TIM_CHANNEL_3) != HAL_OK)
  {
    Error_Handler();
  }
  if (HAL_TIM_PWM_ConfigChannel(&htim8, &sConfigOC, TIM_CHANNEL_4) != HAL_OK)
  {
    Error_Handler();
  }
  sBreakDeadTimeConfig.OffStateRunMode = TIM_OSSR_DISABLE;
  sBreakDeadTimeConfig.OffStateIDLEMode = TIM_OSSI_DISABLE;
  sBreakDeadTimeConfig.LockLevel = TIM_LOCKLEVEL_OFF;
  sBreakDeadTimeConfig.DeadTime = 0;
  sBreakDeadTimeConfig.BreakState = TIM_BREAK_DISABLE;
  sBreakDeadTimeConfig.BreakPolarity = TIM_BREAKPOLARITY_HIGH;
  sBreakDeadTimeConfig.AutomaticOutput = TIM_AUTOMATICOUTPUT_DISABLE;
  if (HAL_TIMEx_ConfigBreakDeadTime(&htim8, &sBreakDeadTimeConfig) != HAL_OK)
  {
    Error_Handler();
  }
  HAL_TIM_MspPostInit(&htim8);

}

static void MX_TIM10_Init(void)
{

  htim10.Instance = TIM10;
  htim10.Init.Prescaler = 167;
  htim10.Init.CounterMode = TIM_COUNTERMODE_UP;
  htim10.Init.Period = 0xffff;
  htim10.Init.ClockDivision = TIM_CLOCKDIVISION_DIV1;
  htim10.Init.AutoReloadPreload = TIM_AUTORELOAD_PRELOAD_DISABLE;
  if (HAL_TIM_Base_Init(&htim10) != HAL_OK)
  {
    Error_Handler();
  }

}

static void MX_TIM12_Init(void)
{

  TIM_ClockConfigTypeDef sClockSourceConfig = {0};
  TIM_SlaveConfigTypeDef sSlaveConfig = {0};
  TIM_IC_InitTypeDef sConfigIC = {0};

  htim12.Instance = TIM12;
  htim12.Init.Prescaler = 83;
  htim12.Init.CounterMode = TIM_COUNTERMODE_UP;
  htim12.Init.Period = 0xffff;
  htim12.Init.ClockDivision = TIM_CLOCKDIVISION_DIV1;
  htim12.Init.AutoReloadPreload = TIM_AUTORELOAD_PRELOAD_DISABLE;
  if (HAL_TIM_Base_Init(&htim12) != HAL_OK)
  {
    Error_Handler();
  }
  sClockSourceConfig.ClockSource = TIM_CLOCKSOURCE_INTERNAL;
  if (HAL_TIM_ConfigClockSource(&htim12, &sClockSourceConfig) != HAL_OK)
  {
    Error_Handler();
  }
  if (HAL_TIM_IC_Init(&htim12) != HAL_OK)
  {
    Error_Handler();
  }
  sSlaveConfig.SlaveMode = TIM_SLAVEMODE_RESET;
  sSlaveConfig.InputTrigger = TIM_TS_TI1FP1;
  sSlaveConfig.TriggerPolarity = TIM_INPUTCHANNELPOLARITY_RISING;
  sSlaveConfig.TriggerPrescaler = TIM_ICPSC_DIV1;
  sSlaveConfig.TriggerFilter = 3;
  if (HAL_TIM_SlaveConfigSynchro(&htim12, &sSlaveConfig) != HAL_OK)
  {
    Error_Handler();
  }
  sConfigIC.ICPolarity = TIM_INPUTCHANNELPOLARITY_RISING;
  sConfigIC.ICSelection = TIM_ICSELECTION_DIRECTTI;
  sConfigIC.ICPrescaler = TIM_ICPSC_DIV1;
  sConfigIC.ICFilter = 3;
  if (HAL_TIM_IC_ConfigChannel(&htim12, &sConfigIC, TIM_CHANNEL_1) != HAL_OK)
  {
    Error_Handler();
  }
  sConfigIC.ICPolarity = TIM_INPUTCHANNELPOLARITY_FALLING;
  sConfigIC.ICSelection = TIM_ICSELECTION_INDIRECTTI;
  if (HAL_TIM_IC_ConfigChannel(&htim12, &sConfigIC, TIM_CHANNEL_2) != HAL_OK)
  {
    Error_Handler();
  }

}

static void MX_UART4_Init(void)
{

  huart4.Instance = UART4;
  huart4.Init.BaudRate = 115200;
  huart4.Init.WordLength = UART_WORDLENGTH_8B;
  huart4.Init.StopBits = UART_STOPBITS_1;
  huart4.Init.Parity = UART_PARITY_NONE;
  huart4.Init.Mode = UART_MODE_TX_RX;
  huart4.Init.HwFlowCtl = UART_HWCONTROL_NONE;
  huart4.Init.OverSampling = UART_OVERSAMPLING_16;
  if (HAL_UART_Init(&huart4) != HAL_OK)
  {
    Error_Handler();
  }

}

static void MX_UART5_Init(void)
{

  huart5.Instance = UART5;
  huart5.Init.BaudRate = 115200;
  huart5.Init.WordLength = UART_WORDLENGTH_8B;
  huart5.Init.StopBits = UART_STOPBITS_1;
  huart5.Init.Parity = UART_PARITY_NONE;
  huart5.Init.Mode = UART_MODE_TX_RX;
  huart5.Init.HwFlowCtl = UART_HWCONTROL_NONE;
  huart5.Init.OverSampling = UART_OVERSAMPLING_16;
  if (HAL_UART_Init(&huart5) != HAL_OK)
  {
    Error_Handler();
  }

}

static void MX_USART2_UART_Init(void)
{

  huart2.Instance = USART2;
  huart2.Init.BaudRate = 115200;
  huart2.Init.WordLength = UART_WORDLENGTH_8B;
  huart2.Init.StopBits = UART_STOPBITS_1;
  huart2.Init.Parity = UART_PARITY_NONE;
  huart2.Init.Mode = UART_MODE_TX_RX;
  huart2.Init.HwFlowCtl = UART_HWCONTROL_NONE;
  huart2.Init.OverSampling = UART_OVERSAMPLING_16;
  if (HAL_UART_Init(&huart2) != HAL_OK)
  {
    Error_Handler();
  }

}

static void MX_USART3_UART_Init(void)
{

  huart3.Instance = USART3;
  huart3.Init.BaudRate = 115200;
  huart3.Init.WordLength = UART_WORDLENGTH_8B;
  huart3.Init.StopBits = UART_STOPBITS_1;
  huart3.Init.Parity = UART_PARITY_NONE;
  huart3.Init.Mode = UART_MODE_TX_RX;
  huart3.Init.HwFlowCtl = UART_HWCONTROL_NONE;
  huart3.Init.OverSampling = UART_OVERSAMPLING_16;
  if (HAL_UART_Init(&huart3) != HAL_OK)
  {
    Error_Handler();
  }

}

static void MX_DMA_Init(void)
{

  /* DMA controller clock enable */
  __HAL_RCC_DMA1_CLK_ENABLE();

  /* DMA interrupt init */
  /* DMA1_Stream0_IRQn interrupt configuration */
  HAL_NVIC_SetPriority(DMA1_Stream0_IRQn, 0, 0);
  HAL_NVIC_EnableIRQ(DMA1_Stream0_IRQn);
  /* DMA1_Stream1_IRQn interrupt configuration */
  HAL_NVIC_SetPriority(DMA1_Stream1_IRQn, 0, 0);
  HAL_NVIC_EnableIRQ(DMA1_Stream1_IRQn);
  /* DMA1_Stream2_IRQn interrupt configuration */
  HAL_NVIC_SetPriority(DMA1_Stream2_IRQn, 0, 0);
  HAL_NVIC_EnableIRQ(DMA1_Stream2_IRQn);
  /* DMA1_Stream3_IRQn interrupt configuration */
  HAL_NVIC_SetPriority(DMA1_Stream3_IRQn, 0, 0);
  HAL_NVIC_EnableIRQ(DMA1_Stream3_IRQn);
  /* DMA1_Stream4_IRQn interrupt configuration */
  HAL_NVIC_SetPriority(DMA1_Stream4_IRQn, 0, 0);
  HAL_NVIC_EnableIRQ(DMA1_Stream4_IRQn);
  /* DMA1_Stream5_IRQn interrupt configuration */
  HAL_NVIC_SetPriority(DMA1_Stream5_IRQn, 0, 0);
  HAL_NVIC_EnableIRQ(DMA1_Stream5_IRQn);
  /* DMA1_Stream6_IRQn interrupt configuration */
  HAL_NVIC_SetPriority(DMA1_Stream6_IRQn, 0, 0);
  HAL_NVIC_EnableIRQ(DMA1_Stream6_IRQn);
  /* DMA1_Stream7_IRQn interrupt configuration */
  HAL_NVIC_SetPriority(DMA1_Stream7_IRQn, 0, 0);
  HAL_NVIC_EnableIRQ(DMA1_Stream7_IRQn);

}

static void MX_GPIO_Init(void)
{
  GPIO_InitTypeDef GPIO_InitStruct = {0};

  /* GPIO Ports Clock Enable */
  __HAL_RCC_GPIOC_CLK_ENABLE();
  __HAL_RCC_GPIOH_CLK_ENABLE();
  __HAL_RCC_GPIOA_CLK_ENABLE();
  __HAL_RCC_GPIOB_CLK_ENABLE();
  __HAL_RCC_GPIOD_CLK_ENABLE();

  /*Configure GPIO pin Output Level */
  HAL_GPIO_WritePin(LED5_GPIO_Port, LED5_Pin, GPIO_PIN_RESET);

  /*Configure GPIO pin Output Level */
  HAL_GPIO_WritePin(GPIOH, LED4_Pin|LED3_Pin, GPIO_PIN_RESET);

  /*Configure GPIO pin Output Level */
  HAL_GPIO_WritePin(GPIOB, LED2_Pin|LED0_Pin|LED1_Pin, GPIO_PIN_RESET);

  /*Configure GPIO pin : LED5_Pin */
  GPIO_InitStruct.Pin = LED5_Pin;
  GPIO_InitStruct.Mode = GPIO_MODE_OUTPUT_OD;
  GPIO_InitStruct.Pull = GPIO_NOPULL;
  GPIO_InitStruct.Speed = GPIO_SPEED_FREQ_LOW;
  HAL_GPIO_Init(LED5_GPIO_Port, &GPIO_InitStruct);

  /*Configure GPIO pins : LED4_Pin LED3_Pin */
  GPIO_InitStruct.Pin = LED4_Pin|LED3_Pin;
  GPIO_InitStruct.Mode = GPIO_MODE_OUTPUT_OD;
  GPIO_InitStruct.Pull = GPIO_NOPULL;
  GPIO_InitStruct.Speed = GPIO_SPEED_FREQ_LOW;
  HAL_GPIO_Init(GPIOH, &GPIO_InitStruct);

  /*Configure GPIO pin : START_BUTTON_Pin */
  GPIO_InitStruct.Pin = START_BUTTON_Pin;
  GPIO_InitStruct.Mode = GPIO_MODE_IT_RISING;
  GPIO_InitStruct.Pull = GPIO_PULLUP;
  HAL_GPIO_Init(START_BUTTON_GPIO_Port, &GPIO_InitStruct);

  /*Configure GPIO pins : LED2_Pin LED0_Pin LED1_Pin */
  GPIO_InitStruct.Pin = LED2_Pin|LED0_Pin|LED1_Pin;
  GPIO_InitStruct.Mode = GPIO_MODE_OUTPUT_OD;
  GPIO_InitStruct.Pull = GPIO_NOPULL;
  GPIO_InitStruct.Speed = GPIO_SPEED_FREQ_LOW;
  HAL_GPIO_Init(GPIOB, &GPIO_InitStruct);

  /* EXTI interrupt init*/
  HAL_NVIC_SetPriority(EXTI4_IRQn, 0, 0);
  HAL_NVIC_EnableIRQ(EXTI4_IRQn);

}

void Error_Handler(void)
{
}

/************************ (C) COPYRIGHT STMicroelectronics *****END OF FILE****/
